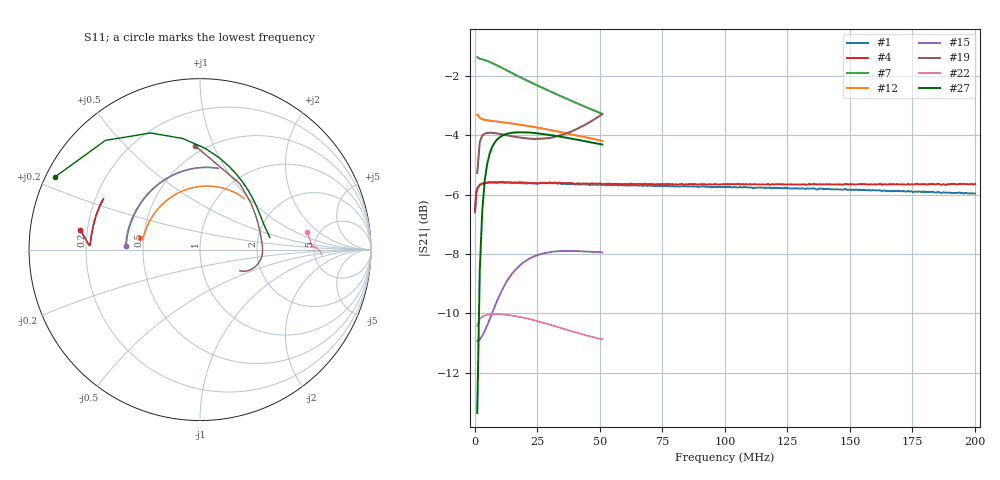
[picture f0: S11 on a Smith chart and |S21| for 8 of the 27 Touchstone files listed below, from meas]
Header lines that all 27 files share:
# MHz S RI R 50
! S-Parameters data
! Freq  reS11  imS11  reS21  imS21  reS12  imS12  reS22  imS22
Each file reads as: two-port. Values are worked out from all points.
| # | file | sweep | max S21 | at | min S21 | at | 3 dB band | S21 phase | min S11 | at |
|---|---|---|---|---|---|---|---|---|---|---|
| 1 | 200603_3Port_CTopen_P1_50out_P2_AntGnd_Term_AntWire.s2p | 100 kHz to 200 MHz | -5.58 dB | 11.09 MHz | -6.6 dB | 100 kHz | 100 kHz-200 MHz | -15 deg at 100 MHz | -3.9 dB | 184.5 MHz |
| 2 | 200603_3Port_CTopen_P1_50out_P2_AntWire_Term_AntGnd.s2p | 100 kHz to 200 MHz | -5.56 dB | 198.5 MHz | -6.6 dB | 100 kHz | 100 kHz-200 MHz | 164 deg at 100 MHz | -3.9 dB | 185 MHz |
| 3 | 200603_3Port_P1_50out_P2_AntGnd_Term_AntWire.s2p | 100 kHz to 200 MHz | -5.55 dB | 6.097 MHz | -6.5 dB | 100 kHz | 100 kHz-200 MHz | -16 deg at 100 MHz | -3.9 dB | 185 MHz |
| 4 | 200603_3Port_P1_50out_P2_AntWire_Term_AntGnd.s2p | 100 kHz to 200 MHz | -5.56 dB | 11.09 MHz | -6.6 dB | 100 kHz | 100 kHz-200 MHz | 165 deg at 100 MHz | -3.9 dB | 188 MHz |
| 5 | SAB_1.s2p | 1 MHz to 51 MHz | -3.28 dB | 1 MHz | -4.2 dB | 51 MHz | 1 MHz-51 MHz | -32 deg at 26 MHz | -9.4 dB | 7 MHz |
| 6 | SAB_2.s2p | 1 MHz to 51 MHz | -3.29 dB | 1 MHz | -4.2 dB | 51 MHz | 1 MHz-51 MHz | -32 deg at 26 MHz | -9.4 dB | 7 MHz |
| 7 | SAB_3.s2p | 1 MHz to 51 MHz | -1.36 dB | 1 MHz | -3.3 dB | 51 MHz | 1 MHz-51 MHz | -28 deg at 26 MHz | -7.3 dB | 1 MHz |
| 8 | SAB_3a.s2p | 1 MHz to 51 MHz | -1.36 dB | 1 MHz | -3.3 dB | 51 MHz | 1 MHz-51 MHz | -28 deg at 26 MHz | -7.3 dB | 1 MHz |
| 9 | SAB_4.s2p | 1 MHz to 51 MHz | -2.61 dB | 51 MHz | -4.6 dB | 1 MHz | 1 MHz-51 MHz | -0 deg at 26 MHz | -10.1 dB | 51 MHz |
| 10 | SAB_5.s2p | 1 MHz to 51 MHz | -3.29 dB | 9 MHz | -4.5 dB | 1 MHz | 1 MHz-51 MHz | -24 deg at 26 MHz | -10.1 dB | 36 MHz |
| 11 | SAB_9.s2p | 1 MHz to 51 MHz | -3.32 dB | 28 MHz | -4.9 dB | 1 MHz | 1 MHz-51 MHz | -30 deg at 26 MHz | -11.7 dB | 51 MHz |
| 12 | SAB_3577_1.s2p | 1 MHz to 51 MHz | -3.30 dB | 1 MHz | -4.2 dB | 51 MHz | 1 MHz-51 MHz | -32 deg at 26 MHz | -9.4 dB | 6.875 MHz |
| 13 | SAC_1.s2p | 1 MHz to 51 MHz | -3.78 dB | 9.5 MHz | -4.1 dB | 1 MHz | 1 MHz-51 MHz | 147 deg at 26 MHz | -9.4 dB | 6.5 MHz |
| 14 | SAC_2.s2p | 1 MHz to 51 MHz | -3.80 dB | 10 MHz | -4.1 dB | 1 MHz | 1 MHz-51 MHz | 147 deg at 26 MHz | -9.4 dB | 7 MHz |
| 15 | SAC_3.s2p | 1 MHz to 51 MHz | -7.89 dB | 37 MHz | -10.9 dB | 1 MHz | 2 MHz-51 MHz | 159 deg at 26 MHz | -7.2 dB | 1 MHz |
| 16 | SAC_3a.s2p | 1 MHz to 51 MHz | -7.90 dB | 37 MHz | -10.9 dB | 1 MHz | 2 MHz-51 MHz | 159 deg at 26 MHz | -7.3 dB | 1 MHz |
| 17 | SAC_4.s2p | 1 MHz to 51 MHz | -3.68 dB | 7 MHz | -4.8 dB | 1 MHz | 1 MHz-51 MHz | 159 deg at 26 MHz | -10.1 dB | 51 MHz |
| 18 | SAC_5.s2p | 1 MHz to 51 MHz | -3.23 dB | 51 MHz | -5.1 dB | 1 MHz | 1 MHz-51 MHz | 142 deg at 26 MHz | -10.1 dB | 36 MHz |
| 19 | SAC_9.s2p | 1 MHz to 51 MHz | -3.28 dB | 51 MHz | -5.3 dB | 1 MHz | 1 MHz-51 MHz | 119 deg at 26 MHz | -11.6 dB | 51 MHz |
| 20 | SAC_3577_1.s2p | 1 MHz to 51 MHz | -3.80 dB | 9.625 MHz | -4.1 dB | 1.125 MHz | 1 MHz-51 MHz | 148 deg at 26 MHz | -9.4 dB | 7.5 MHz |
| 21 | SBC_1.s2p | 1 MHz to 51 MHz | -10.03 dB | 8.75 MHz | -10.9 dB | 51 MHz | 1 MHz-51 MHz | -8 deg at 26 MHz | -3.9 dB | 1 MHz |
| 22 | SBC_2.s2p | 1 MHz to 51 MHz | -10.02 dB | 8 MHz | -10.9 dB | 51 MHz | 1 MHz-51 MHz | -8 deg at 26 MHz | -3.9 dB | 1 MHz |
| 23 | SBC_3.s2p | 1 MHz to 51 MHz | -7.43 dB | 1 MHz | -14.7 dB | 51 MHz | 1 MHz-17 MHz | 72 deg at 26 MHz | -11.0 dB | 1 MHz |
| 24 | SBC_3a.s2p | 1 MHz to 51 MHz | -7.43 dB | 1 MHz | -14.7 dB | 51 MHz | 1 MHz-17 MHz | 72 deg at 26 MHz | -11.0 dB | 1 MHz |
| 25 | SBC_4.s2p | 1 MHz to 51 MHz | -3.69 dB | 7 MHz | -4.9 dB | 51 MHz | 1 MHz-51 MHz | 156 deg at 26 MHz | -9.5 dB | 49 MHz |
| 26 | sbc_5.s2p | 1 MHz to 51 MHz | -5.52 dB | 51 MHz | -11.1 dB | 1 MHz | 20 MHz-51 MHz | 105 deg at 26 MHz | -5.1 dB | 51 MHz |
| 27 | SBC_6.s2p | 1 MHz to 51 MHz | -3.89 dB | 18 MHz | -13.4 dB | 1 MHz | 3 MHz-51 MHz | 1 deg at 26 MHz | -7.9 dB | 27 MHz |
